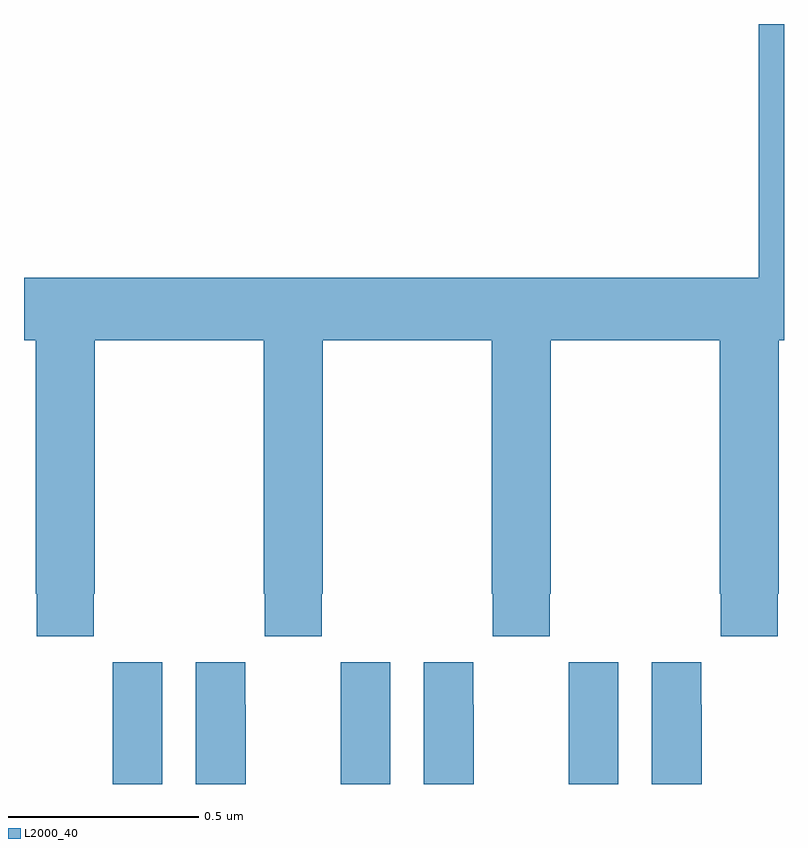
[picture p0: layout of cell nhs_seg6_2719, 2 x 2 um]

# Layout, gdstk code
import gdstk
lib = gdstk.Library(unit=1e-6, precision=1e-09)
def P(c, l, *ps):  # polygons
    for p in ps: c.add(gdstk.Polygon(p, *l))
L2000_40 = (2000, 40)

nhs_seg6_2719 = lib.new_cell('nhs_seg6_2719')
P(nhs_seg6_2719, L2000_40, [(147.183,948.001),(147.186,948.001),(147.186,948.668),(147.631,948.668),(147.631,948.001),(147.633,948.001),(147.633,947.889),(147.783,947.889),(147.783,948.001),(147.786,948.001),(147.786,948.668),(148.231,948.668),(148.231,948.001),(148.233,948.001),(148.233,947.889),(148.383,947.889),(148.383,948.001),(148.386,948.001),(148.386,948.668),(148.831,948.668),(148.831,948.001),(148.833,948.001),(148.833,947.889),(148.983,947.889),(148.983,948.001),(148.986,948.001),(148.986,948.668),(149,948.668),(149,949.5),(148.934,949.5),(148.934,948.832),(147,948.832),(147,948.668),(147.031,948.668),(147.031,948.001),(147.033,948.001),(147.033,947.889),(147.183,947.889)],
  [(148.783,947.708),(148.782,947.708),(148.782,947.821),(148.652,947.821),(148.652,947.5),(148.783,947.5)],
  [(147.583,947.708),(147.582,947.708),(147.582,947.821),(147.452,947.821),(147.452,947.5),(147.583,947.5)],
  [(148.564,947.821),(148.434,947.821),(148.434,947.708),(148.433,947.708),(148.433,947.5),(148.564,947.5)],
  [(148.183,947.708),(148.182,947.708),(148.182,947.821),(148.052,947.821),(148.052,947.5),(148.183,947.5)],
  [(147.834,947.821),(147.834,947.708),(147.833,947.708),(147.833,947.5),(147.964,947.5),(147.964,947.821)],
  [(147.234,947.821),(147.234,947.708),(147.233,947.708),(147.233,947.5),(147.364,947.5),(147.364,947.821)])

lib.write_gds('nhs_seg6_2719.gds')
